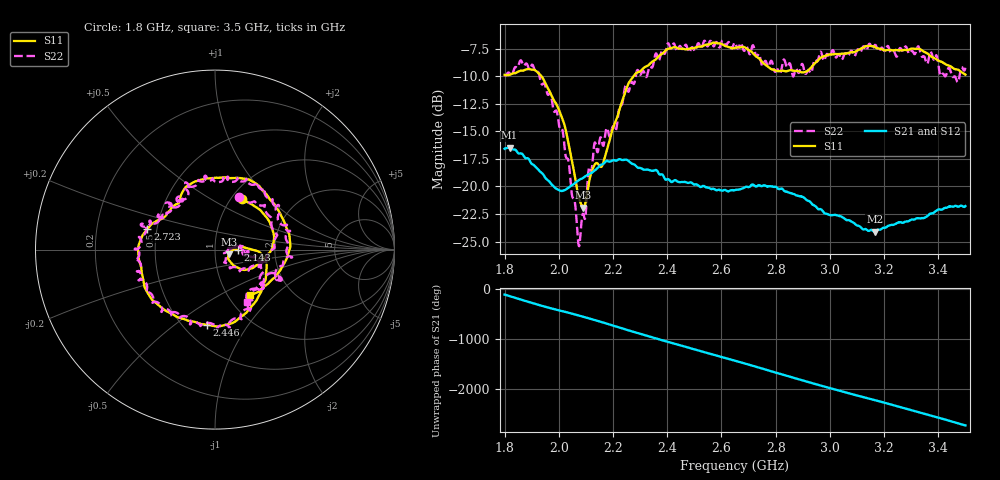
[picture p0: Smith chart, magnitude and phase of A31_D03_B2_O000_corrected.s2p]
! Created with skrf 1.9.0 (http://scikit-rf.org).
# Hz S RI R 50.0
!freq ReS11 ImS11 ReS21 ImS21 ReS12 ImS12 ReS22 ImS22
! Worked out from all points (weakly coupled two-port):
!   1601 points, 1.8 GHz to 3.5 GHz, reference 50 ohm
!   highest |S21| = -16.48 dB at 1.818 GHz (marker M1); lowest = -24.1 dB at 3.165 GHz (marker M2)
!   lowest |S11| = -21.9 dB at 2.09 GHz (marker M3), VSWR 1.17, Z = 58.1 - j3.01 ohm
!   |S11| at or under -10 dB: 1.936 GHz to 2.276 GHz (340.5 MHz wide, 16.2 % of centre)
!   |S22| runs from -25.4 to -6.8 dB; largest |S21 - S12| = 0.0026
!   S11 on the Smith chart (normalised r, x): 1.8 GHz: 1.12, +0.71; 2.143 GHz: 1.29, -0.00; 2.446 GHz: 0.65, -0.66; 2.723 GHz: 0.44, +0.12; 3.5 GHz: 1.26, -0.72
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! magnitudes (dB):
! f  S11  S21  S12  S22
! 1.8 GHz  -9.9  -16.6  -16.6  -9.9
! 1.818 GHz  -9.9  -16.5  -16.5  -9.7
! 1.903 GHz  -9.4  -18.0  -18.0  -9.0
! 1.968 GHz  -11.5  -19.6  -19.7  -11.6
! 2.015 GHz  -14.0  -20.4  -20.4  -15.0
! 2.072 GHz  -20.8  -19.5  -19.5  -25.2
! 2.084 GHz  -21.7  -19.3  -19.3  -23.2
! 2.09 GHz  -21.9  -19.2  -19.3  -22.5
! 2.112 GHz  -19.5  -18.9  -18.9  -18.3
! 2.143 GHz  -17.9  -18.3  -18.3  -16.9
! 2.209 GHz  -14.1  -17.7  -17.6  -15.0
! 2.26 GHz  -10.5  -17.8  -17.8  -11.3
! 2.367 GHz  -8.2  -18.8  -18.7  -8.5
! 2.446 GHz  -7.5  -19.6  -19.6  -7.3
! 2.65 GHz  -7.4  -20.3  -20.3  -7.0
! 2.723 GHz  -8.1  -19.9  -19.9  -7.8
! 2.934 GHz  -9.1  -21.6  -21.6  -9.5
! 3.165 GHz  -7.3  -24.1  -24.1  -7.2
! 3.217 GHz  -7.6  -23.5  -23.5  -7.4
! 3.327 GHz  -7.5  -22.9  -22.8  -7.3
! 3.468 GHz  -9.4  -21.8  -21.8  -10.4
! 3.5 GHz  -9.9  -21.8  -21.8  -9.2
